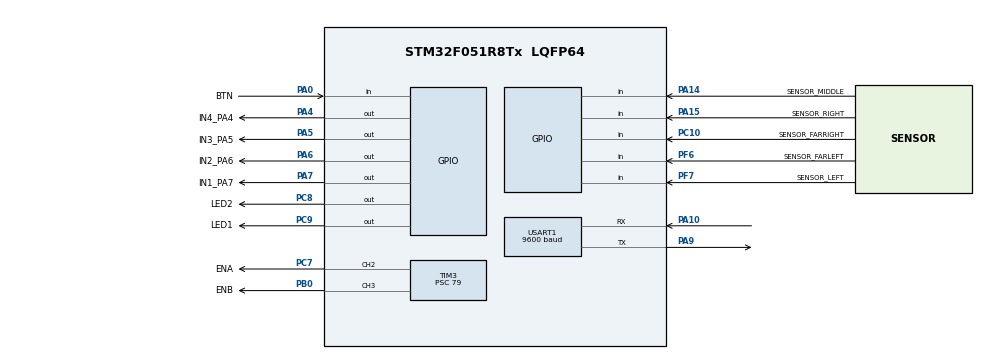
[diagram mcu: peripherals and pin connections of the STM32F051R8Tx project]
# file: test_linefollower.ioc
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Mcu.Family=STM32F0
Mcu.Name=STM32F051R8Tx
Mcu.Package=LQFP64
NVIC.USART1_IRQn=true\:0\:0\:false\:false\:true\:true\:true\:true
PA0.GPIO_Label=BTN
PA0.Signal=GPIO_Input
PA10.Mode=Asynchronous
PA10.Signal=USART1_RX
PA14.GPIO_Label=SENSOR_MIDDLE
PA14.Signal=GPIO_Input
PA15.GPIO_Label=SENSOR_RIGHT
PA15.Signal=GPIO_Input
PA4.GPIO_Label=IN4_PA4
PA4.Signal=GPIO_Output
PA5.GPIO_Label=IN3_PA5
PA5.Signal=GPIO_Output
PA6.GPIO_Label=IN2_PA6
PA6.Signal=GPIO_Output
PA7.GPIO_Label=IN1_PA7
PA7.Signal=GPIO_Output
PA9.Mode=Asynchronous
PA9.Signal=USART1_TX
PB0.GPIO_Label=ENB
PB0.Signal=S_TIM3_CH3
PC10.GPIO_Label=SENSOR_FARRIGHT
PC10.Signal=GPIO_Input
PC7.GPIO_Label=ENA
PC7.Signal=S_TIM3_CH2
PC8.GPIO_Label=LED2
PC8.Signal=GPIO_Output
PC9.GPIO_Label=LED1
PC9.Signal=GPIO_Output
PF6.GPIO_Label=SENSOR_FARLEFT
PF6.Signal=GPIO_Input
PF7.GPIO_Label=SENSOR_LEFT
PF7.Signal=GPIO_Input
ProjectManager.HeapSize=0x200
ProjectManager.StackSize=0x400
ProjectManager.TargetToolchain=STM32CubeIDE
SH.S_TIM3_CH2.0=TIM3_CH2,PWM Generation2 CH2
SH.S_TIM3_CH3.0=TIM3_CH3,PWM Generation3 CH3
TIM3.Channel-PWM\ Generation2\ CH2=TIM_CHANNEL_2
TIM3.Channel-PWM\ Generation3\ CH3=TIM_CHANNEL_3
TIM3.Period=999
TIM3.Prescaler=79
USART1.BaudRate=9600
USART1.VirtualMode-Asynchronous=VM_ASYNC
VP_TIM3_VS_ClockSourceINT.Mode=Internal
board=custom

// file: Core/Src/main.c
/* USER CODE BEGIN Header */
/**
  ******************************************************************************
  * @file           : main.c
  * @brief          : Main program body
  ******************************************************************************
  * @attention
  *
  * Copyright (c) 2025 STMicroelectronics.
  * All rights reserved.
  *
  * This software is licensed under terms that can be found in the LICENSE file
  * in the root directory of this software component.
  * If no LICENSE file comes with this software, it is provided AS-IS.
  *
  ******************************************************************************
  */
/* USER CODE END Header */
#include "main.h"

TIM_HandleTypeDef htim3;

UART_HandleTypeDef huart1;

/* USER CODE BEGIN PV */
uint16_t drivingspeed = 20;
uint8_t buffer[20];
volatile uint8_t action_flag = 0;
volatile uint32_t action_timeout = 0;
uint8_t followline_flag = 0;
/* USER CODE END PV */

void SystemClock_Config(void);
static void MX_GPIO_Init(void);
static void MX_TIM3_Init(void);
static void MX_USART1_UART_Init(void);
/* USER CODE BEGIN PFP */
void HAL_UART_RxCpltCallback(UART_HandleTypeDef *huart);
void Set_Speed(uint16_t speed);
void Go_Forward(void);
void Go_Left(void);
void Go_Right(void);
void Go_Backward(void);
void Stop(void);
void Emergency_Stop(void);
/* USER CODE END PFP */

int main(void)
{

  /* MCU Configuration--------------------------------------------------------*/

  /* Reset of all peripherals, Initializes the Flash interface and the Systick. */
  HAL_Init();

  /* Configure the system clock */
  SystemClock_Config();

  /* Initialize all configured peripherals */
  MX_GPIO_Init();
  MX_TIM3_Init();
  MX_USART1_UART_Init();
  /* USER CODE BEGIN 2 */
  HAL_UART_Receive_IT(&huart1, buffer, 1);
  HAL_TIM_PWM_Start(&htim3, TIM_CHANNEL_2);
  HAL_TIM_PWM_Start(&htim3, TIM_CHANNEL_3);
  /* USER CODE END 2 */

  /* Infinite loop */
  /* USER CODE BEGIN WHILE */
  while (1)
  {
	  // przycisk -> ustawia followline_flag = 1
	  if(HAL_GPIO_ReadPin(BTN_GPIO_Port, BTN_Pin)==1){
		  HAL_GPIO_WritePin(LED2_GPIO_Port, LED2_Pin, 1);
		  HAL_Delay(2000);
		  HAL_GPIO_WritePin(LED2_GPIO_Port, LED2_Pin, 0);
		  followline_flag = 1;
	  }
	  // stan podazania za linia
	  if(followline_flag == 1){
		  HAL_Delay(80);
		  Follow_Line();
		  HAL_Delay(40);
		  Stop();
	  }
	  // stan kontroli z bluetooth
	  if(action_flag != 0){
		  if(action_flag == 1) Go_Forward();
		  else if(action_flag == 2) Go_Backward();
		  else if(action_flag == 3) Go_Left();
		  else if(action_flag == 4) Go_Right();
		  else if(action_flag == 5) Emergency_Stop();

		  if(HAL_GetTick() > action_timeout){
			  Stop();
			  action_flag = 0;
		  }
	  }
    /* USER CODE END WHILE */

  }
}

void SystemClock_Config(void)
{
  RCC_OscInitTypeDef RCC_OscInitStruct = {0};
  RCC_ClkInitTypeDef RCC_ClkInitStruct = {0};
  RCC_PeriphCLKInitTypeDef PeriphClkInit = {0};

  /** Initializes the RCC Oscillators according to the specified parameters
  * in the RCC_OscInitTypeDef structure.
  */
  RCC_OscInitStruct.OscillatorType = RCC_OSCILLATORTYPE_HSI;
  RCC_OscInitStruct.HSIState = RCC_HSI_ON;
  RCC_OscInitStruct.HSICalibrationValue = RCC_HSICALIBRATION_DEFAULT;
  RCC_OscInitStruct.PLL.PLLState = RCC_PLL_NONE;
  if (HAL_RCC_OscConfig(&RCC_OscInitStruct) != HAL_OK)
  {
    Error_Handler();
  }

  /** Initializes the CPU, AHB and APB buses clocks
  */
  RCC_ClkInitStruct.ClockType = RCC_CLOCKTYPE_HCLK|RCC_CLOCKTYPE_SYSCLK
                              |RCC_CLOCKTYPE_PCLK1;
  RCC_ClkInitStruct.SYSCLKSource = RCC_SYSCLKSOURCE_HSI;
  RCC_ClkInitStruct.AHBCLKDivider = RCC_SYSCLK_DIV1;
  RCC_ClkInitStruct.APB1CLKDivider = RCC_HCLK_DIV1;

  if (HAL_RCC_ClockConfig(&RCC_ClkInitStruct, FLASH_LATENCY_0) != HAL_OK)
  {
    Error_Handler();
  }
  PeriphClkInit.PeriphClockSelection = RCC_PERIPHCLK_USART1;
  PeriphClkInit.Usart1ClockSelection = RCC_USART1CLKSOURCE_PCLK1;
  if (HAL_RCCEx_PeriphCLKConfig(&PeriphClkInit) != HAL_OK)
  {
    Error_Handler();
  }
}

static void MX_TIM3_Init(void)
{

  TIM_ClockConfigTypeDef sClockSourceConfig = {0};
  TIM_MasterConfigTypeDef sMasterConfig = {0};
  TIM_OC_InitTypeDef sConfigOC = {0};

  htim3.Instance = TIM3;
  htim3.Init.Prescaler = 79;
  htim3.Init.CounterMode = TIM_COUNTERMODE_UP;
  htim3.Init.Period = 999;
  htim3.Init.ClockDivision = TIM_CLOCKDIVISION_DIV1;
  htim3.Init.AutoReloadPreload = TIM_AUTORELOAD_PRELOAD_DISABLE;
  if (HAL_TIM_Base_Init(&htim3) != HAL_OK)
  {
    Error_Handler();
  }
  sClockSourceConfig.ClockSource = TIM_CLOCKSOURCE_INTERNAL;
  if (HAL_TIM_ConfigClockSource(&htim3, &sClockSourceConfig) != HAL_OK)
  {
    Error_Handler();
  }
  if (HAL_TIM_PWM_Init(&htim3) != HAL_OK)
  {
    Error_Handler();
  }
  sMasterConfig.MasterOutputTrigger = TIM_TRGO_RESET;
  sMasterConfig.MasterSlaveMode = TIM_MASTERSLAVEMODE_DISABLE;
  if (HAL_TIMEx_MasterConfigSynchronization(&htim3, &sMasterConfig) != HAL_OK)
  {
    Error_Handler();
  }
  sConfigOC.OCMode = TIM_OCMODE_PWM1;
  sConfigOC.Pulse = 0;
  sConfigOC.OCPolarity = TIM_OCPOLARITY_HIGH;
  sConfigOC.OCFastMode = TIM_OCFAST_DISABLE;
  if (HAL_TIM_PWM_ConfigChannel(&htim3, &sConfigOC, TIM_CHANNEL_2) != HAL_OK)
  {
    Error_Handler();
  }
  if (HAL_TIM_PWM_ConfigChannel(&htim3, &sConfigOC, TIM_CHANNEL_3) != HAL_OK)
  {
    Error_Handler();
  }
  HAL_TIM_MspPostInit(&htim3);

}

static void MX_USART1_UART_Init(void)
{

  huart1.Instance = USART1;
  huart1.Init.BaudRate = 9600;
  huart1.Init.WordLength = UART_WORDLENGTH_8B;
  huart1.Init.StopBits = UART_STOPBITS_1;
  huart1.Init.Parity = UART_PARITY_NONE;
  huart1.Init.Mode = UART_MODE_TX_RX;
  huart1.Init.HwFlowCtl = UART_HWCONTROL_NONE;
  huart1.Init.OverSampling = UART_OVERSAMPLING_16;
  huart1.Init.OneBitSampling = UART_ONE_BIT_SAMPLE_DISABLE;
  huart1.AdvancedInit.AdvFeatureInit = UART_ADVFEATURE_NO_INIT;
  if (HAL_UART_Init(&huart1) != HAL_OK)
  {
    Error_Handler();
  }

}

static void MX_GPIO_Init(void)
{
  GPIO_InitTypeDef GPIO_InitStruct = {0};

  /* GPIO Ports Clock Enable */
  __HAL_RCC_GPIOA_CLK_ENABLE();
  __HAL_RCC_GPIOB_CLK_ENABLE();
  __HAL_RCC_GPIOC_CLK_ENABLE();
  __HAL_RCC_GPIOF_CLK_ENABLE();

  /*Configure GPIO pin Output Level */
  HAL_GPIO_WritePin(GPIOA, IN4_PA4_Pin|IN3_PA5_Pin|IN2_PA6_Pin|IN1_PA7_Pin, GPIO_PIN_RESET);

  /*Configure GPIO pin Output Level */
  HAL_GPIO_WritePin(GPIOC, LED2_Pin|LED1_Pin, GPIO_PIN_RESET);

  /*Configure GPIO pins : BTN_Pin SENSOR_MIDDLE_Pin SENSOR_RIGHT_Pin */
  GPIO_InitStruct.Pin = BTN_Pin|SENSOR_MIDDLE_Pin|SENSOR_RIGHT_Pin;
  GPIO_InitStruct.Mode = GPIO_MODE_INPUT;
  GPIO_InitStruct.Pull = GPIO_NOPULL;
  HAL_GPIO_Init(GPIOA, &GPIO_InitStruct);

  /*Configure GPIO pins : IN4_PA4_Pin IN3_PA5_Pin IN2_PA6_Pin IN1_PA7_Pin */
  GPIO_InitStruct.Pin = IN4_PA4_Pin|IN3_PA5_Pin|IN2_PA6_Pin|IN1_PA7_Pin;
  GPIO_InitStruct.Mode = GPIO_MODE_OUTPUT_PP;
  GPIO_InitStruct.Pull = GPIO_NOPULL;
  GPIO_InitStruct.Speed = GPIO_SPEED_FREQ_LOW;
  HAL_GPIO_Init(GPIOA, &GPIO_InitStruct);

  /*Configure GPIO pins : LED2_Pin LED1_Pin */
  GPIO_InitStruct.Pin = LED2_Pin|LED1_Pin;
  GPIO_InitStruct.Mode = GPIO_MODE_OUTPUT_PP;
  GPIO_InitStruct.Pull = GPIO_NOPULL;
  GPIO_InitStruct.Speed = GPIO_SPEED_FREQ_LOW;
  HAL_GPIO_Init(GPIOC, &GPIO_InitStruct);

  /*Configure GPIO pins : SENSOR_FARLEFT_Pin SENSOR_LEFT_Pin */
  GPIO_InitStruct.Pin = SENSOR_FARLEFT_Pin|SENSOR_LEFT_Pin;
  GPIO_InitStruct.Mode = GPIO_MODE_INPUT;
  GPIO_InitStruct.Pull = GPIO_NOPULL;
  HAL_GPIO_Init(GPIOF, &GPIO_InitStruct);

  /*Configure GPIO pin : SENSOR_FARRIGHT_Pin */
  GPIO_InitStruct.Pin = SENSOR_FARRIGHT_Pin;
  GPIO_InitStruct.Mode = GPIO_MODE_INPUT;
  GPIO_InitStruct.Pull = GPIO_NOPULL;
  HAL_GPIO_Init(SENSOR_FARRIGHT_GPIO_Port, &GPIO_InitStruct);

}

/* USER CODE BEGIN 4 */
void Follow_Line(void){
		//skret 90 w prawo
		if(HAL_GPIO_ReadPin(SENSOR_FARRIGHT_GPIO_Port, SENSOR_FARRIGHT_Pin)==0 && HAL_GPIO_ReadPin(SENSOR_RIGHT_GPIO_Port, SENSOR_RIGHT_Pin)==0){
			HAL_GPIO_WritePin(LED2_GPIO_Port, LED2_Pin, 1);
			HAL_UART_Transmit(&huart1, "FARRIGHT\r\n", 10, 100);
			Go_Left();
		}
		//skret 90 w lewo
		else if(HAL_GPIO_ReadPin(SENSOR_FARLEFT_GPIO_Port, SENSOR_FARLEFT_Pin)==0 && HAL_GPIO_ReadPin(SENSOR_LEFT_GPIO_Port, SENSOR_LEFT_Pin)==0){
			HAL_GPIO_WritePin(LED1_GPIO_Port, LED1_Pin, 1);
			HAL_UART_Transmit(&huart1, "FARLEFT\r\n", 9, 100);
			Go_Right();
		}
		//right
		else if(HAL_GPIO_ReadPin(SENSOR_RIGHT_GPIO_Port, SENSOR_RIGHT_Pin)==0){
			HAL_GPIO_WritePin(LED2_GPIO_Port, LED2_Pin, 1);
			HAL_UART_Transmit(&huart1, "RIGHT\r\n", 7, 100);
			Go_Left();
		}
		//left
		else if(HAL_GPIO_ReadPin(SENSOR_LEFT_GPIO_Port, SENSOR_LEFT_Pin)==0){
			HAL_GPIO_WritePin(LED1_GPIO_Port, LED1_Pin, 1);
			HAL_UART_Transmit(&huart1, "LEFT\r\n", 6, 100);
			Go_Right();
		}
		//middle
		else if(HAL_GPIO_ReadPin(SENSOR_MIDDLE_GPIO_Port, SENSOR_MIDDLE_Pin)==0){
			HAL_GPIO_WritePin(LED1_GPIO_Port, LED1_Pin, 1);
			HAL_GPIO_WritePin(LED2_GPIO_Port, LED2_Pin, 1);
			HAL_UART_Transmit(&huart1, "MID\r\n", 6, 100);
			Go_Forward();
		}
		else{
			HAL_UART_Transmit(&huart1, "NONE\r\n", 6, 100);
			Go_Forward();
		}
		HAL_GPIO_WritePin(LED1_GPIO_Port, LED1_Pin, 0);
		HAL_GPIO_WritePin(LED2_GPIO_Port, LED2_Pin, 0);
}

void HAL_UART_RxCpltCallback(UART_HandleTypeDef *huart) {
    if (huart->Instance == USART1){
    	if(buffer[0] == 'w'){
        	HAL_UART_Transmit(&huart1, "W\n", 2, 100);
            action_flag = 1;  // Go_Forward
            action_timeout = HAL_GetTick() + 100;
        }
        else if(buffer[0] == 's'){
        	HAL_UART_Transmit(&huart1, "S\n", 2, 100);
            action_flag = 2;  // Go_Backward
            action_timeout = HAL_GetTick() + 100;
        }
        else if(buffer[0] == 'a'){
        	HAL_UART_Transmit(&huart1, "A\n", 2, 100);
            action_flag = 3;  // Go_Left
            action_timeout = HAL_GetTick() + 100;
        }
        else if(buffer[0] == 'd'){
        	HAL_UART_Transmit(&huart1, "D\n", 2, 100);
            action_flag = 4;  // Go_Right
            action_timeout = HAL_GetTick() + 100;
        }
        else if(buffer[0] == 'x'){
        	HAL_UART_Transmit(&huart1, "X\n", 2, 100);
            action_flag = 5;  // Emergency_Stop
        }

        HAL_UART_Receive_IT(&huart1, buffer, 1);
    }
}

void Set_Speed(uint16_t speed){
	drivingspeed = speed; // zmienna ustalajaca predkosc (PWM)
	__HAL_TIM_SET_COMPARE(&htim3, TIM_CHANNEL_2, drivingspeed);
	__HAL_TIM_SET_COMPARE(&htim3, TIM_CHANNEL_3, drivingspeed);
}
void Go_Forward(void){
	Set_Speed(drivingspeed);
	HAL_GPIO_WritePin(IN1_PA7_GPIO_Port, IN1_PA7_Pin, 1); // oba kola do przodu
	HAL_GPIO_WritePin(IN2_PA6_GPIO_Port, IN2_PA6_Pin, 0);

	HAL_GPIO_WritePin(IN3_PA5_GPIO_Port, IN3_PA5_Pin, 1);
	HAL_GPIO_WritePin(IN4_PA4_GPIO_Port, IN4_PA4_Pin, 0);
}
void Go_Left(void){
	Set_Speed(drivingspeed);
	HAL_GPIO_WritePin(IN1_PA7_GPIO_Port, IN1_PA7_Pin, 1); // prawe do przodu
	HAL_GPIO_WritePin(IN2_PA6_GPIO_Port, IN2_PA6_Pin, 0);

	HAL_GPIO_WritePin(IN3_PA5_GPIO_Port, IN3_PA5_Pin, 0); // lewe do tylu
	HAL_GPIO_WritePin(IN4_PA4_GPIO_Port, IN4_PA4_Pin, 1);
}
void Go_Right(void){
	Set_Speed(drivingspeed);
	HAL_GPIO_WritePin(IN1_PA7_GPIO_Port, IN1_PA7_Pin, 0); // prawe do tylu
	HAL_GPIO_WritePin(IN2_PA6_GPIO_Port, IN2_PA6_Pin, 1);

	HAL_GPIO_WritePin(IN3_PA5_GPIO_Port, IN3_PA5_Pin, 1); // lewe do przodu
	HAL_GPIO_WritePin(IN4_PA4_GPIO_Port, IN4_PA4_Pin, 0);
}
void Go_Backward(void){
	Set_Speed(drivingspeed);
	HAL_GPIO_WritePin(IN1_PA7_GPIO_Port, IN1_PA7_Pin, 0); // oba kola do tylu
	HAL_GPIO_WritePin(IN2_PA6_GPIO_Port, IN2_PA6_Pin, 1);

	HAL_GPIO_WritePin(IN3_PA5_GPIO_Port, IN3_PA5_Pin, 0);
	HAL_GPIO_WritePin(IN4_PA4_GPIO_Port, IN4_PA4_Pin, 1);
}
void Stop(void){
	HAL_GPIO_WritePin(IN1_PA7_GPIO_Port, IN1_PA7_Pin, 0); // oba kola stop
	HAL_GPIO_WritePin(IN2_PA6_GPIO_Port, IN2_PA6_Pin, 0);
	__HAL_TIM_SET_COMPARE(&htim3, TIM_CHANNEL_2, 0);

	HAL_GPIO_WritePin(IN3_PA5_GPIO_Port, IN3_PA5_Pin, 0);
	HAL_GPIO_WritePin(IN4_PA4_GPIO_Port, IN4_PA4_Pin, 0);
	__HAL_TIM_SET_COMPARE(&htim3, TIM_CHANNEL_3, 0);

	Set_Speed(0);
}
void Emergency_Stop(void){
	for(;;){
		Stop();
		HAL_UART_Transmit(&huart1, (uint8_t*)"EMERGENCYSTOP\n", 14, 100);
		HAL_Delay(200);
	}
}
/* USER CODE END 4 */

void Error_Handler(void)
{
  __disable_irq();
  while (1)
  {
  }
}
